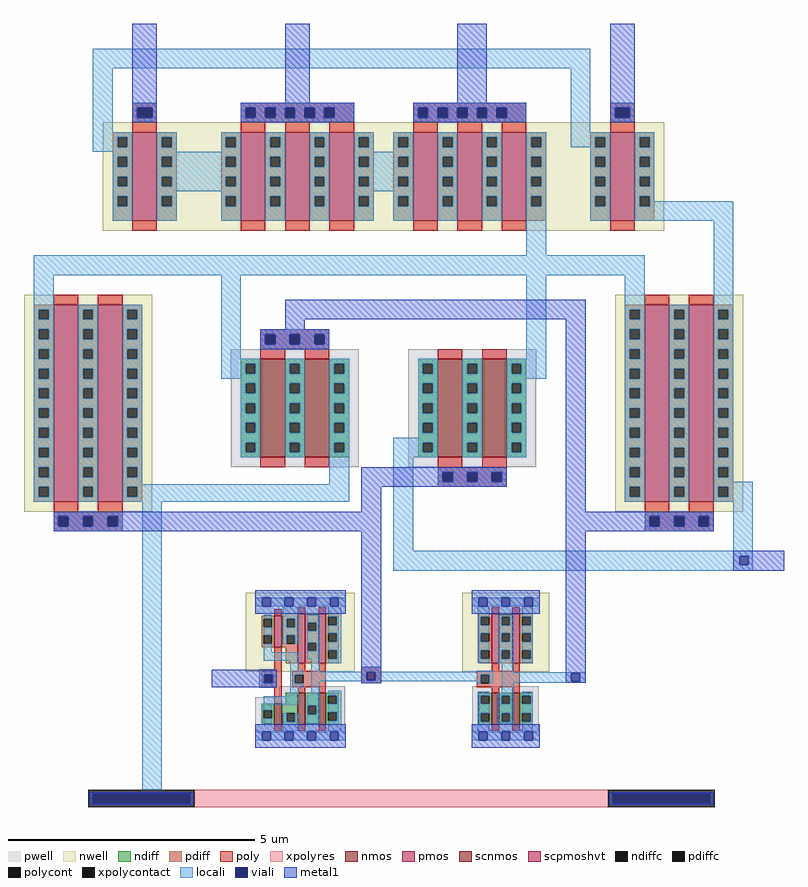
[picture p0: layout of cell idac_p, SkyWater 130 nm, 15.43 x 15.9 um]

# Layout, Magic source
magic
tech sky130A
magscale 1 2
<< nwell >>
rect -100 0 0 440
rect 1400 0 1500 440
<< poly >>
rect -320 500 -220 520
rect -320 460 -300 500
rect -240 460 -220 500
rect -320 440 -220 460
rect 120 500 580 520
rect 120 460 140 500
rect 180 460 220 500
rect 260 460 300 500
rect 340 460 380 500
rect 420 460 460 500
rect 500 460 580 500
rect 120 440 580 460
rect 820 500 1280 520
rect 820 460 840 500
rect 880 460 920 500
rect 960 460 1000 500
rect 1040 460 1080 500
rect 1120 460 1160 500
rect 1200 460 1280 500
rect 820 440 1280 460
rect 1620 500 1720 520
rect 1620 460 1640 500
rect 1700 460 1720 500
rect 1620 440 1720 460
rect 200 -420 480 -400
rect 200 -460 220 -420
rect 260 -460 320 -420
rect 360 -460 420 -420
rect 460 -460 480 -420
rect 200 -480 480 -460
rect 920 -980 1200 -960
rect 920 -1020 940 -980
rect 980 -1020 1040 -980
rect 1080 -1020 1140 -980
rect 1180 -1020 1200 -980
rect 920 -1040 1200 -1020
rect -640 -1160 -360 -1140
rect -640 -1200 -620 -1160
rect -580 -1200 -520 -1160
rect -480 -1200 -420 -1160
rect -380 -1200 -360 -1160
rect -640 -1220 -360 -1200
rect 1760 -1160 2040 -1140
rect 1760 -1200 1780 -1160
rect 1820 -1200 1880 -1160
rect 1920 -1200 1980 -1160
rect 2020 -1200 2040 -1160
rect 1760 -1220 2040 -1200
rect 610 -1838 690 -1770
<< polycont >>
rect -300 460 -240 500
rect 140 460 180 500
rect 220 460 260 500
rect 300 460 340 500
rect 380 460 420 500
rect 460 460 500 500
rect 840 460 880 500
rect 920 460 960 500
rect 1000 460 1040 500
rect 1080 460 1120 500
rect 1160 460 1200 500
rect 1640 460 1700 500
rect 220 -460 260 -420
rect 320 -460 360 -420
rect 420 -460 460 -420
rect 940 -1020 980 -980
rect 1040 -1020 1080 -980
rect 1140 -1020 1180 -980
rect -620 -1200 -580 -1160
rect -520 -1200 -480 -1160
rect -420 -1200 -380 -1160
rect 1780 -1200 1820 -1160
rect 1880 -1200 1920 -1160
rect 1980 -1200 2020 -1160
<< locali >>
rect -480 660 1540 740
rect -480 320 -400 660
rect -320 500 -220 520
rect -320 460 -300 500
rect -240 460 -220 500
rect -320 440 -220 460
rect 120 500 580 520
rect 120 460 140 500
rect 180 460 220 500
rect 260 460 300 500
rect 340 460 380 500
rect 420 460 460 500
rect 500 460 580 500
rect 120 440 580 460
rect 820 500 1280 520
rect 820 460 840 500
rect 880 460 920 500
rect 960 460 1000 500
rect 1040 460 1080 500
rect 1120 460 1160 500
rect 1200 460 1280 500
rect 820 440 1280 460
rect 1460 340 1540 660
rect 1620 500 1720 520
rect 1620 460 1640 500
rect 1700 460 1720 500
rect 1620 440 1720 460
rect -140 160 40 320
rect 660 160 740 320
rect 1800 40 2120 120
rect 1280 -100 1360 40
rect -720 -180 1760 -100
rect -720 -300 -640 -180
rect 40 -600 120 -180
rect 200 -420 480 -400
rect 200 -460 220 -420
rect 260 -460 320 -420
rect 360 -460 420 -420
rect 460 -460 480 -420
rect 200 -480 480 -460
rect 1280 -600 1360 -180
rect 1680 -300 1760 -180
rect 2040 -300 2120 40
rect 740 -920 840 -840
rect 480 -1030 560 -920
rect -280 -1100 560 -1030
rect -640 -1160 -360 -1140
rect -640 -1200 -620 -1160
rect -580 -1200 -520 -1160
rect -480 -1200 -420 -1160
rect -380 -1200 -360 -1160
rect -640 -1220 -360 -1200
rect -280 -2270 -200 -1100
rect 740 -1300 820 -920
rect 920 -980 1200 -960
rect 920 -1020 940 -980
rect 980 -1020 1040 -980
rect 1080 -1020 1140 -980
rect 1180 -1020 1200 -980
rect 920 -1040 1200 -1020
rect 1760 -1160 2040 -1140
rect 1760 -1200 1780 -1160
rect 1820 -1200 1880 -1160
rect 1920 -1200 1980 -1160
rect 2020 -1200 2040 -1160
rect 1760 -1220 2040 -1200
rect 2120 -1300 2200 -1020
rect 740 -1322 2200 -1300
rect 740 -1356 2146 -1322
rect 2180 -1356 2200 -1322
rect 740 -1380 2200 -1356
rect 610 -1790 690 -1770
rect 440 -1792 1080 -1790
rect 440 -1826 632 -1792
rect 666 -1826 1080 -1792
rect 440 -1830 1080 -1826
rect 1228 -1796 1520 -1792
rect 1228 -1830 1462 -1796
rect 1496 -1830 1520 -1796
rect 610 -1838 690 -1830
rect 1228 -1836 1520 -1830
<< viali >>
rect -300 460 -240 500
rect 140 460 180 500
rect 220 460 260 500
rect 300 460 340 500
rect 380 460 420 500
rect 460 460 500 500
rect 840 460 880 500
rect 920 460 960 500
rect 1000 460 1040 500
rect 1080 460 1120 500
rect 1160 460 1200 500
rect 1640 460 1700 500
rect 220 -460 260 -420
rect 320 -460 360 -420
rect 420 -460 460 -420
rect -620 -1200 -580 -1160
rect -520 -1200 -480 -1160
rect -420 -1200 -380 -1160
rect 940 -1020 980 -980
rect 1040 -1020 1080 -980
rect 1140 -1020 1180 -980
rect 1780 -1200 1820 -1160
rect 1880 -1200 1920 -1160
rect 1980 -1200 2020 -1160
rect 2146 -1356 2180 -1322
rect 216 -1836 250 -1802
rect 632 -1826 666 -1792
rect 1462 -1830 1496 -1796
<< metal1 >>
rect -320 500 -220 840
rect 300 520 400 840
rect 1000 520 1120 840
rect -320 460 -300 500
rect -240 460 -220 500
rect -320 440 -220 460
rect 120 500 580 520
rect 120 460 140 500
rect 180 460 220 500
rect 260 460 300 500
rect 340 460 380 500
rect 420 460 460 500
rect 500 460 580 500
rect 120 440 580 460
rect 820 500 1280 520
rect 820 460 840 500
rect 880 460 920 500
rect 960 460 1000 500
rect 1040 460 1080 500
rect 1120 460 1160 500
rect 1200 460 1280 500
rect 820 440 1280 460
rect 1620 500 1720 840
rect 1620 460 1640 500
rect 1700 460 1720 500
rect 1620 440 1720 460
rect 300 -360 1520 -280
rect 300 -400 380 -360
rect 200 -420 480 -400
rect 200 -460 220 -420
rect 260 -460 320 -420
rect 360 -460 420 -420
rect 460 -460 480 -420
rect 200 -480 480 -460
rect 610 -980 1200 -960
rect 610 -1020 940 -980
rect 980 -1020 1040 -980
rect 1080 -1020 1140 -980
rect 1180 -1020 1200 -980
rect 610 -1040 1200 -1020
rect 610 -1140 690 -1040
rect -640 -1160 690 -1140
rect -640 -1200 -620 -1160
rect -580 -1200 -520 -1160
rect -480 -1200 -420 -1160
rect -380 -1200 690 -1160
rect -640 -1220 690 -1200
rect 2 -1802 266 -1782
rect 2 -1836 216 -1802
rect 250 -1836 266 -1802
rect 2 -1854 266 -1836
rect 610 -1792 690 -1220
rect 610 -1826 632 -1792
rect 666 -1826 690 -1792
rect 610 -1838 690 -1826
rect 1440 -1140 1520 -360
rect 1440 -1160 2040 -1140
rect 1440 -1200 1780 -1160
rect 1820 -1200 1880 -1160
rect 1920 -1200 1980 -1160
rect 2020 -1200 2040 -1160
rect 1440 -1220 2040 -1200
rect 1440 -1796 1520 -1220
rect 2120 -1322 2326 -1300
rect 2120 -1356 2146 -1322
rect 2180 -1356 2326 -1322
rect 2120 -1380 2326 -1356
rect 1440 -1830 1462 -1796
rect 1496 -1830 1520 -1796
rect 1440 -1836 1520 -1830
use nmos_idac_lk  nmos_idac_lk_0
transform 1 0 200 0 1 -920
box -120 -40 400 440
use nmos_idac_lk  nmos_idac_lk_1
transform 1 0 920 0 1 -920
box -120 -40 400 440
use pmos_idac_br2  pmos_idac_br2_0
transform 1 0 120 0 1 40
box -120 -40 580 400
use pmos_idac_br2  pmos_idac_br2_1
transform 1 0 820 0 1 40
box -120 -40 580 400
use pmos_idac_br  pmos_idac_br_0
transform 1 0 -320 0 1 40
box -120 -40 220 400
use pmos_idac_br  pmos_idac_br_1
transform 1 0 1620 0 1 40
box -120 -40 220 400
use pmos_idac_lk  pmos_idac_lk_0
transform 1 0 -640 0 1 -1100
box -120 -40 400 840
use pmos_idac_lk  pmos_idac_lk_1
transform 1 0 1760 0 1 -1100
box -120 -40 400 840
use sky130_fd_pr__res_xhigh_po_0p35_JPCEFB  sky130_fd_pr__res_xhigh_po_0p35_JPCEFB_0
transform 0 1 772 -1 0 -2305
box -35 -1272 35 1272
use sky130_fd_sc_hd__buf_2  sky130_fd_sc_hd__buf_2_0 $PDKPATH/libs.ref/sky130_fd_sc_hd/mag
transform 1 0 178 0 1 -2052
box -38 -48 406 592
use sky130_fd_sc_hd__inv_2  sky130_fd_sc_hd__inv_2_0 $PDKPATH/libs.ref/sky130_fd_sc_hd/mag
transform 1 0 1058 0 1 -2052
box -38 -48 314 592
<< end >>

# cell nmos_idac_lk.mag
magic
tech sky130A
<< pwell >>
rect -60 -20 200 220
<< nmos >>
rect 0 0 50 200
rect 90 0 140 200
<< ndiff >>
rect -40 190 0 200
rect -40 170 -30 190
rect -10 170 0 190
rect -40 150 0 170
rect -40 130 -30 150
rect -10 130 0 150
rect -40 110 0 130
rect -40 90 -30 110
rect -10 90 0 110
rect -40 70 0 90
rect -40 50 -30 70
rect -10 50 0 70
rect -40 30 0 50
rect -40 10 -30 30
rect -10 10 0 30
rect -40 0 0 10
rect 50 190 90 200
rect 50 170 60 190
rect 80 170 90 190
rect 50 150 90 170
rect 50 130 60 150
rect 80 130 90 150
rect 50 110 90 130
rect 50 90 60 110
rect 80 90 90 110
rect 50 70 90 90
rect 50 50 60 70
rect 80 50 90 70
rect 50 30 90 50
rect 50 10 60 30
rect 80 10 90 30
rect 50 0 90 10
rect 140 190 180 200
rect 140 170 150 190
rect 170 170 180 190
rect 140 150 180 170
rect 140 130 150 150
rect 170 130 180 150
rect 140 110 180 130
rect 140 90 150 110
rect 170 90 180 110
rect 140 70 180 90
rect 140 50 150 70
rect 170 50 180 70
rect 140 30 180 50
rect 140 10 150 30
rect 170 10 180 30
rect 140 0 180 10
<< ndiffc >>
rect -30 170 -10 190
rect -30 130 -10 150
rect -30 90 -10 110
rect -30 50 -10 70
rect -30 10 -10 30
rect 60 170 80 190
rect 60 130 80 150
rect 60 90 80 110
rect 60 50 80 70
rect 60 10 80 30
rect 150 170 170 190
rect 150 130 170 150
rect 150 90 170 110
rect 150 50 170 70
rect 150 10 170 30
<< poly >>
rect 0 200 50 220
rect 90 200 140 220
rect 0 -20 50 0
rect 90 -20 140 0
<< locali >>
rect -40 190 0 200
rect -40 170 -30 190
rect -10 170 0 190
rect -40 150 0 170
rect -40 130 -30 150
rect -10 130 0 150
rect -40 110 0 130
rect -40 90 -30 110
rect -10 90 0 110
rect -40 70 0 90
rect -40 50 -30 70
rect -10 50 0 70
rect -40 30 0 50
rect -40 10 -30 30
rect -10 10 0 30
rect -40 0 0 10
rect 50 190 90 200
rect 50 170 60 190
rect 80 170 90 190
rect 50 150 90 170
rect 50 130 60 150
rect 80 130 90 150
rect 50 110 90 130
rect 50 90 60 110
rect 80 90 90 110
rect 50 70 90 90
rect 50 50 60 70
rect 80 50 90 70
rect 50 30 90 50
rect 50 10 60 30
rect 80 10 90 30
rect 50 0 90 10
rect 140 190 180 200
rect 140 170 150 190
rect 170 170 180 190
rect 140 150 180 170
rect 140 130 150 150
rect 170 130 180 150
rect 140 110 180 130
rect 140 90 150 110
rect 170 90 180 110
rect 140 70 180 90
rect 140 50 150 70
rect 170 50 180 70
rect 140 30 180 50
rect 140 10 150 30
rect 170 10 180 30
rect 140 0 180 10
<< end >>

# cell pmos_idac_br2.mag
magic
tech sky130A
<< nwell >>
rect -60 -20 290 200
<< pmos >>
rect 0 0 50 180
rect 90 0 140 180
rect 180 0 230 180
<< pdiff >>
rect -40 170 0 180
rect -40 150 -30 170
rect -10 150 0 170
rect -40 130 0 150
rect -40 110 -30 130
rect -10 110 0 130
rect -40 90 0 110
rect -40 70 -30 90
rect -10 70 0 90
rect -40 50 0 70
rect -40 30 -30 50
rect -10 30 0 50
rect -40 0 0 30
rect 50 170 90 180
rect 50 150 60 170
rect 80 150 90 170
rect 50 130 90 150
rect 50 110 60 130
rect 80 110 90 130
rect 50 90 90 110
rect 50 70 60 90
rect 80 70 90 90
rect 50 50 90 70
rect 50 30 60 50
rect 80 30 90 50
rect 50 0 90 30
rect 140 170 180 180
rect 140 150 150 170
rect 170 150 180 170
rect 140 130 180 150
rect 140 110 150 130
rect 170 110 180 130
rect 140 90 180 110
rect 140 70 150 90
rect 170 70 180 90
rect 140 50 180 70
rect 140 30 150 50
rect 170 30 180 50
rect 140 0 180 30
rect 230 170 270 180
rect 230 150 240 170
rect 260 150 270 170
rect 230 130 270 150
rect 230 110 240 130
rect 260 110 270 130
rect 230 90 270 110
rect 230 70 240 90
rect 260 70 270 90
rect 230 50 270 70
rect 230 30 240 50
rect 260 30 270 50
rect 230 0 270 30
<< pdiffc >>
rect -30 150 -10 170
rect -30 110 -10 130
rect -30 70 -10 90
rect -30 30 -10 50
rect 60 150 80 170
rect 60 110 80 130
rect 60 70 80 90
rect 60 30 80 50
rect 150 150 170 170
rect 150 110 170 130
rect 150 70 170 90
rect 150 30 170 50
rect 240 150 260 170
rect 240 110 260 130
rect 240 70 260 90
rect 240 30 260 50
<< poly >>
rect 0 180 50 200
rect 90 180 140 200
rect 180 180 230 200
rect 0 -20 50 0
rect 90 -20 140 0
rect 180 -20 230 0
<< locali >>
rect -40 170 0 180
rect -40 150 -30 170
rect -10 150 0 170
rect -40 130 0 150
rect -40 110 -30 130
rect -10 110 0 130
rect -40 90 0 110
rect -40 70 -30 90
rect -10 70 0 90
rect -40 50 0 70
rect -40 30 -30 50
rect -10 30 0 50
rect -40 0 0 30
rect 50 170 90 180
rect 50 150 60 170
rect 80 150 90 170
rect 50 130 90 150
rect 50 110 60 130
rect 80 110 90 130
rect 50 90 90 110
rect 50 70 60 90
rect 80 70 90 90
rect 50 50 90 70
rect 50 30 60 50
rect 80 30 90 50
rect 50 0 90 30
rect 140 170 180 180
rect 140 150 150 170
rect 170 150 180 170
rect 140 130 180 150
rect 140 110 150 130
rect 170 110 180 130
rect 140 90 180 110
rect 140 70 150 90
rect 170 70 180 90
rect 140 50 180 70
rect 140 30 150 50
rect 170 30 180 50
rect 140 0 180 30
rect 230 170 270 180
rect 230 150 240 170
rect 260 150 270 170
rect 230 130 270 150
rect 230 110 240 130
rect 260 110 270 130
rect 230 90 270 110
rect 230 70 240 90
rect 260 70 270 90
rect 230 50 270 70
rect 230 30 240 50
rect 260 30 270 50
rect 230 0 270 30
<< end >>

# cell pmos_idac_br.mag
magic
tech sky130A
<< nwell >>
rect -60 -20 110 200
<< pmos >>
rect 0 0 50 180
<< pdiff >>
rect -40 170 0 180
rect -40 150 -30 170
rect -10 150 0 170
rect -40 130 0 150
rect -40 110 -30 130
rect -10 110 0 130
rect -40 90 0 110
rect -40 70 -30 90
rect -10 70 0 90
rect -40 50 0 70
rect -40 30 -30 50
rect -10 30 0 50
rect -40 0 0 30
rect 50 170 90 180
rect 50 150 60 170
rect 80 150 90 170
rect 50 130 90 150
rect 50 110 60 130
rect 80 110 90 130
rect 50 90 90 110
rect 50 70 60 90
rect 80 70 90 90
rect 50 50 90 70
rect 50 30 60 50
rect 80 30 90 50
rect 50 0 90 30
<< pdiffc >>
rect -30 150 -10 170
rect -30 110 -10 130
rect -30 70 -10 90
rect -30 30 -10 50
rect 60 150 80 170
rect 60 110 80 130
rect 60 70 80 90
rect 60 30 80 50
<< poly >>
rect 0 180 50 200
rect 0 -20 50 0
<< locali >>
rect -40 170 0 180
rect -40 150 -30 170
rect -10 150 0 170
rect -40 130 0 150
rect -40 110 -30 130
rect -10 110 0 130
rect -40 90 0 110
rect -40 70 -30 90
rect -10 70 0 90
rect -40 50 0 70
rect -40 30 -30 50
rect -10 30 0 50
rect -40 0 0 30
rect 50 170 90 180
rect 50 150 60 170
rect 80 150 90 170
rect 50 130 90 150
rect 50 110 60 130
rect 80 110 90 130
rect 50 90 90 110
rect 50 70 60 90
rect 80 70 90 90
rect 50 50 90 70
rect 50 30 60 50
rect 80 30 90 50
rect 50 0 90 30
<< end >>

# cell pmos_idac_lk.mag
magic
tech sky130A
<< nwell >>
rect -60 -20 200 420
<< pmos >>
rect 0 0 50 400
rect 90 0 140 400
<< pdiff >>
rect -40 390 0 400
rect -40 370 -30 390
rect -10 370 0 390
rect -40 350 0 370
rect -40 330 -30 350
rect -10 330 0 350
rect -40 310 0 330
rect -40 290 -30 310
rect -10 290 0 310
rect -40 270 0 290
rect -40 250 -30 270
rect -10 250 0 270
rect -40 230 0 250
rect -40 210 -30 230
rect -10 210 0 230
rect -40 190 0 210
rect -40 170 -30 190
rect -10 170 0 190
rect -40 150 0 170
rect -40 130 -30 150
rect -10 130 0 150
rect -40 110 0 130
rect -40 90 -30 110
rect -10 90 0 110
rect -40 70 0 90
rect -40 50 -30 70
rect -10 50 0 70
rect -40 30 0 50
rect -40 10 -30 30
rect -10 10 0 30
rect -40 0 0 10
rect 50 390 90 400
rect 50 370 60 390
rect 80 370 90 390
rect 50 350 90 370
rect 50 330 60 350
rect 80 330 90 350
rect 50 310 90 330
rect 50 290 60 310
rect 80 290 90 310
rect 50 270 90 290
rect 50 250 60 270
rect 80 250 90 270
rect 50 230 90 250
rect 50 210 60 230
rect 80 210 90 230
rect 50 190 90 210
rect 50 170 60 190
rect 80 170 90 190
rect 50 150 90 170
rect 50 130 60 150
rect 80 130 90 150
rect 50 110 90 130
rect 50 90 60 110
rect 80 90 90 110
rect 50 70 90 90
rect 50 50 60 70
rect 80 50 90 70
rect 50 30 90 50
rect 50 10 60 30
rect 80 10 90 30
rect 50 0 90 10
rect 140 390 180 400
rect 140 370 150 390
rect 170 370 180 390
rect 140 350 180 370
rect 140 330 150 350
rect 170 330 180 350
rect 140 310 180 330
rect 140 290 150 310
rect 170 290 180 310
rect 140 270 180 290
rect 140 250 150 270
rect 170 250 180 270
rect 140 230 180 250
rect 140 210 150 230
rect 170 210 180 230
rect 140 190 180 210
rect 140 170 150 190
rect 170 170 180 190
rect 140 150 180 170
rect 140 130 150 150
rect 170 130 180 150
rect 140 110 180 130
rect 140 90 150 110
rect 170 90 180 110
rect 140 70 180 90
rect 140 50 150 70
rect 170 50 180 70
rect 140 30 180 50
rect 140 10 150 30
rect 170 10 180 30
rect 140 0 180 10
<< pdiffc >>
rect -30 370 -10 390
rect -30 330 -10 350
rect -30 290 -10 310
rect -30 250 -10 270
rect -30 210 -10 230
rect -30 170 -10 190
rect -30 130 -10 150
rect -30 90 -10 110
rect -30 50 -10 70
rect -30 10 -10 30
rect 60 370 80 390
rect 60 330 80 350
rect 60 290 80 310
rect 60 250 80 270
rect 60 210 80 230
rect 60 170 80 190
rect 60 130 80 150
rect 60 90 80 110
rect 60 50 80 70
rect 60 10 80 30
rect 150 370 170 390
rect 150 330 170 350
rect 150 290 170 310
rect 150 250 170 270
rect 150 210 170 230
rect 150 170 170 190
rect 150 130 170 150
rect 150 90 170 110
rect 150 50 170 70
rect 150 10 170 30
<< poly >>
rect 0 400 50 420
rect 90 400 140 420
rect 0 -20 50 0
rect 90 -20 140 0
<< locali >>
rect -40 390 0 400
rect -40 370 -30 390
rect -10 370 0 390
rect -40 350 0 370
rect -40 330 -30 350
rect -10 330 0 350
rect -40 310 0 330
rect -40 290 -30 310
rect -10 290 0 310
rect -40 270 0 290
rect -40 250 -30 270
rect -10 250 0 270
rect -40 230 0 250
rect -40 210 -30 230
rect -10 210 0 230
rect -40 190 0 210
rect -40 170 -30 190
rect -10 170 0 190
rect -40 150 0 170
rect -40 130 -30 150
rect -10 130 0 150
rect -40 110 0 130
rect -40 90 -30 110
rect -10 90 0 110
rect -40 70 0 90
rect -40 50 -30 70
rect -10 50 0 70
rect -40 30 0 50
rect -40 10 -30 30
rect -10 10 0 30
rect -40 0 0 10
rect 50 390 90 400
rect 50 370 60 390
rect 80 370 90 390
rect 50 350 90 370
rect 50 330 60 350
rect 80 330 90 350
rect 50 310 90 330
rect 50 290 60 310
rect 80 290 90 310
rect 50 270 90 290
rect 50 250 60 270
rect 80 250 90 270
rect 50 230 90 250
rect 50 210 60 230
rect 80 210 90 230
rect 50 190 90 210
rect 50 170 60 190
rect 80 170 90 190
rect 50 150 90 170
rect 50 130 60 150
rect 80 130 90 150
rect 50 110 90 130
rect 50 90 60 110
rect 80 90 90 110
rect 50 70 90 90
rect 50 50 60 70
rect 80 50 90 70
rect 50 30 90 50
rect 50 10 60 30
rect 80 10 90 30
rect 50 0 90 10
rect 140 390 180 400
rect 140 370 150 390
rect 170 370 180 390
rect 140 350 180 370
rect 140 330 150 350
rect 170 330 180 350
rect 140 310 180 330
rect 140 290 150 310
rect 170 290 180 310
rect 140 270 180 290
rect 140 250 150 270
rect 170 250 180 270
rect 140 230 180 250
rect 140 210 150 230
rect 170 210 180 230
rect 140 190 180 210
rect 140 170 150 190
rect 170 170 180 190
rect 140 150 180 170
rect 140 130 150 150
rect 170 130 180 150
rect 140 110 180 130
rect 140 90 150 110
rect 170 90 180 110
rect 140 70 180 90
rect 140 50 150 70
rect 170 50 180 70
rect 140 30 180 50
rect 140 10 150 30
rect 170 10 180 30
rect 140 0 180 10
<< end >>

# cell sky130_fd_pr__res_xhigh_po_0p35_JPCEFB: kit device sky130_fd_pr__res_xhigh_po_0p35, w 0.350 l 8.562 m 1 nx 1 wmin 0.350 lmin 0.50 rho 2000 val 50.001k dummy 0 dw 0.0 term 188.2 sterm 0.0 caplen 0 wmax 0.350 guard 0 glc 0 grc 0 gtc 0 gbc 0 compatible {sky130_fd_pr__res_xhigh_po_0p35 sky130_fd_pr__res_xhigh_po_0p69 sky130_fd_pr__res_xhigh_po_1p41 sky130_fd_pr__res_xhigh_po_2p85 sky130_fd_pr__res_xhigh_po_5p73} snake 0 full_metal 0 n_guard 0 hv_guard 0 vias 1 viagb 0 viagt 0 viagl 0 viagr 0

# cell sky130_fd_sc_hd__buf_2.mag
magic
tech sky130A
magscale 1 2
<< nwell >>
rect -38 261 406 582
<< pwell >>
rect 98 157 367 203
rect 1 21 367 157
rect 29 -17 63 21
<< scnmos >>
rect 79 47 109 131
rect 174 47 204 177
rect 258 47 288 177
<< scpmoshvt >>
rect 79 361 109 489
rect 174 297 204 497
rect 258 297 288 497
<< ndiff >>
rect 124 131 174 177
rect 27 106 79 131
rect 27 72 35 106
rect 69 72 79 106
rect 27 47 79 72
rect 109 93 174 131
rect 109 59 128 93
rect 162 59 174 93
rect 109 47 174 59
rect 204 123 258 177
rect 204 89 214 123
rect 248 89 258 123
rect 204 47 258 89
rect 288 165 341 177
rect 288 131 298 165
rect 332 131 341 165
rect 288 97 341 131
rect 288 63 298 97
rect 332 63 341 97
rect 288 47 341 63
<< pdiff >>
rect 124 489 174 497
rect 27 477 79 489
rect 27 443 35 477
rect 69 443 79 477
rect 27 409 79 443
rect 27 375 35 409
rect 69 375 79 409
rect 27 361 79 375
rect 109 477 174 489
rect 109 443 128 477
rect 162 443 174 477
rect 109 409 174 443
rect 109 375 128 409
rect 162 375 174 409
rect 109 361 174 375
rect 124 297 174 361
rect 204 461 258 497
rect 204 427 214 461
rect 248 427 258 461
rect 204 380 258 427
rect 204 346 214 380
rect 248 346 258 380
rect 204 297 258 346
rect 288 485 341 497
rect 288 451 298 485
rect 332 451 341 485
rect 288 417 341 451
rect 288 383 298 417
rect 332 383 341 417
rect 288 349 341 383
rect 288 315 298 349
rect 332 315 341 349
rect 288 297 341 315
<< ndiffc >>
rect 35 72 69 106
rect 128 59 162 93
rect 214 89 248 123
rect 298 131 332 165
rect 298 63 332 97
<< pdiffc >>
rect 35 443 69 477
rect 35 375 69 409
rect 128 443 162 477
rect 128 375 162 409
rect 214 427 248 461
rect 214 346 248 380
rect 298 451 332 485
rect 298 383 332 417
rect 298 315 332 349
<< poly >>
rect 79 489 109 515
rect 174 497 204 523
rect 258 497 288 523
rect 79 265 109 361
rect 174 265 204 297
rect 258 265 288 297
rect 27 249 109 265
rect 27 215 37 249
rect 71 215 109 249
rect 27 199 109 215
rect 151 249 288 265
rect 151 215 161 249
rect 195 215 288 249
rect 151 199 288 215
rect 79 131 109 199
rect 174 177 204 199
rect 258 177 288 199
rect 79 21 109 47
rect 174 21 204 47
rect 258 21 288 47
<< polycont >>
rect 37 215 71 249
rect 161 215 195 249
<< locali >>
rect 0 527 29 561
rect 63 527 121 561
rect 155 527 213 561
rect 247 527 305 561
rect 339 527 368 561
rect 35 477 69 493
rect 35 409 69 443
rect 112 477 178 527
rect 112 443 128 477
rect 162 443 178 477
rect 112 409 178 443
rect 112 375 128 409
rect 162 375 178 409
rect 212 461 263 493
rect 212 427 214 461
rect 248 427 263 461
rect 212 380 263 427
rect 35 341 69 375
rect 212 346 214 380
rect 248 346 263 380
rect 35 307 178 341
rect 212 312 263 346
rect 17 249 88 271
rect 17 215 37 249
rect 71 215 88 249
rect 17 197 88 215
rect 144 265 178 307
rect 144 249 195 265
rect 144 215 161 249
rect 144 199 195 215
rect 144 161 178 199
rect 229 166 263 312
rect 298 485 350 527
rect 332 451 350 485
rect 298 417 350 451
rect 332 383 350 417
rect 298 349 350 383
rect 332 315 350 349
rect 298 297 350 315
rect 35 127 178 161
rect 35 106 69 127
rect 212 123 263 166
rect 35 51 69 72
rect 112 59 128 93
rect 162 59 178 93
rect 112 17 178 59
rect 212 89 214 123
rect 248 89 263 123
rect 212 51 263 89
rect 298 165 350 185
rect 332 131 350 165
rect 298 97 350 131
rect 332 63 350 97
rect 298 17 350 63
rect 0 -17 29 17
rect 63 -17 121 17
rect 155 -17 213 17
rect 247 -17 305 17
rect 339 -17 368 17
<< viali >>
rect 29 527 63 561
rect 121 527 155 561
rect 213 527 247 561
rect 305 527 339 561
rect 29 -17 63 17
rect 121 -17 155 17
rect 213 -17 247 17
rect 305 -17 339 17
<< metal1 >>
rect 0 561 368 592
rect 0 527 29 561
rect 63 527 121 561
rect 155 527 213 561
rect 247 527 305 561
rect 339 527 368 561
rect 0 496 368 527
rect 0 17 368 48
rect 0 -17 29 17
rect 63 -17 121 17
rect 155 -17 213 17
rect 247 -17 305 17
rect 339 -17 368 17
rect 0 -48 368 -17
<< labels >>
flabel metal1 s 29 527 63 561 0 FreeSans 200 0 0 0 VPWR
port 2 nsew
flabel metal1 s 29 -17 63 17 0 FreeSans 200 0 0 0 VGND
port 3 nsew
flabel locali s 29 527 63 561 0 FreeSans 200 0 0 0 VPWR
port 2 nsew
flabel locali s 29 -17 63 17 0 FreeSans 200 0 0 0 VGND
port 3 nsew
flabel locali s 212 85 246 119 0 FreeSans 200 0 0 0 X
port 4 nsew
flabel locali s 212 357 246 391 0 FreeSans 200 0 0 0 X
port 4 nsew
flabel locali s 212 425 246 459 0 FreeSans 200 0 0 0 X
port 4 nsew
flabel locali s 29 221 63 255 0 FreeSans 200 0 0 0 A
port 5 nsew
flabel nwell s 29 527 63 561 0 FreeSans 200 0 0 0 VPB
port 6 nsew
flabel pwell s 29 -17 63 17 0 FreeSans 200 0 0 0 VNB
port 7 nsew
rlabel comment s 0 0 0 0 4 buf_2
<< properties >>
string FIXED_BBOX 0 0 368 544
string path 0.000 2.720 1.840 2.720 
<< end >>

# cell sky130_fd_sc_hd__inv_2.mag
magic
tech sky130A
magscale 1 2
<< nwell >>
rect -38 261 314 582
<< pwell >>
rect 3 21 273 203
rect 29 -17 63 21
<< scnmos >>
rect 81 47 111 177
rect 165 47 195 177
<< scpmoshvt >>
rect 81 297 111 497
rect 165 297 195 497
<< ndiff >>
rect 29 165 81 177
rect 29 131 37 165
rect 71 131 81 165
rect 29 93 81 131
rect 29 59 37 93
rect 71 59 81 93
rect 29 47 81 59
rect 111 165 165 177
rect 111 131 121 165
rect 155 131 165 165
rect 111 93 165 131
rect 111 59 121 93
rect 155 59 165 93
rect 111 47 165 59
rect 195 165 247 177
rect 195 131 205 165
rect 239 131 247 165
rect 195 93 247 131
rect 195 59 205 93
rect 239 59 247 93
rect 195 47 247 59
<< pdiff >>
rect 29 485 81 497
rect 29 451 37 485
rect 71 451 81 485
rect 29 417 81 451
rect 29 383 37 417
rect 71 383 81 417
rect 29 349 81 383
rect 29 315 37 349
rect 71 315 81 349
rect 29 297 81 315
rect 111 485 165 497
rect 111 451 121 485
rect 155 451 165 485
rect 111 417 165 451
rect 111 383 121 417
rect 155 383 165 417
rect 111 349 165 383
rect 111 315 121 349
rect 155 315 165 349
rect 111 297 165 315
rect 195 485 247 497
rect 195 451 205 485
rect 239 451 247 485
rect 195 417 247 451
rect 195 383 205 417
rect 239 383 247 417
rect 195 349 247 383
rect 195 315 205 349
rect 239 315 247 349
rect 195 297 247 315
<< ndiffc >>
rect 37 131 71 165
rect 37 59 71 93
rect 121 131 155 165
rect 121 59 155 93
rect 205 131 239 165
rect 205 59 239 93
<< pdiffc >>
rect 37 451 71 485
rect 37 383 71 417
rect 37 315 71 349
rect 121 451 155 485
rect 121 383 155 417
rect 121 315 155 349
rect 205 451 239 485
rect 205 383 239 417
rect 205 315 239 349
<< poly >>
rect 81 497 111 523
rect 165 497 195 523
rect 81 265 111 297
rect 165 265 195 297
rect 21 249 195 265
rect 21 215 37 249
rect 71 215 195 249
rect 21 199 195 215
rect 81 177 111 199
rect 165 177 195 199
rect 81 21 111 47
rect 165 21 195 47
<< polycont >>
rect 37 215 71 249
<< locali >>
rect 0 527 29 561
rect 63 527 121 561
rect 155 527 213 561
rect 247 527 276 561
rect 25 485 71 527
rect 25 451 37 485
rect 25 417 71 451
rect 25 383 37 417
rect 25 349 71 383
rect 25 315 37 349
rect 25 299 71 315
rect 105 485 171 493
rect 105 451 121 485
rect 155 451 171 485
rect 105 417 171 451
rect 105 383 121 417
rect 155 383 171 417
rect 105 349 171 383
rect 105 315 121 349
rect 155 315 171 349
rect 105 297 171 315
rect 205 485 247 527
rect 239 451 247 485
rect 205 417 247 451
rect 239 383 247 417
rect 205 349 247 383
rect 239 315 247 349
rect 205 299 247 315
rect 21 249 87 265
rect 21 215 37 249
rect 71 215 87 249
rect 25 165 71 181
rect 121 177 171 297
rect 25 131 37 165
rect 25 93 71 131
rect 25 59 37 93
rect 25 17 71 59
rect 105 165 171 177
rect 105 131 121 165
rect 155 131 171 165
rect 105 93 171 131
rect 105 59 121 93
rect 155 59 171 93
rect 105 51 171 59
rect 205 165 247 181
rect 239 131 247 165
rect 205 93 247 131
rect 239 59 247 93
rect 205 17 247 59
rect 0 -17 29 17
rect 63 -17 121 17
rect 155 -17 213 17
rect 247 -17 276 17
<< viali >>
rect 29 527 63 561
rect 121 527 155 561
rect 213 527 247 561
rect 29 -17 63 17
rect 121 -17 155 17
rect 213 -17 247 17
<< metal1 >>
rect 0 561 276 592
rect 0 527 29 561
rect 63 527 121 561
rect 155 527 213 561
rect 247 527 276 561
rect 0 496 276 527
rect 0 17 276 48
rect 0 -17 29 17
rect 63 -17 121 17
rect 155 -17 213 17
rect 247 -17 276 17
rect 0 -48 276 -17
<< labels >>
flabel locali s 29 221 63 255 0 FreeSans 340 0 0 0 A
port 7 nsew
flabel locali s 121 153 155 187 0 FreeSans 340 0 0 0 Y
port 6 nsew
flabel locali s 121 289 155 323 0 FreeSans 340 0 0 0 Y
port 6 nsew
flabel locali s 121 221 155 255 0 FreeSans 340 0 0 0 Y
port 6 nsew
flabel nwell s 29 527 63 561 0 FreeSans 200 0 0 0 VPB
port 2 nsew
flabel pwell s 29 -17 63 17 0 FreeSans 200 0 0 0 VNB
port 3 nsew
flabel metal1 s 29 527 63 561 0 FreeSans 200 0 0 0 VPWR
port 4 nsew
flabel metal1 s 29 -17 63 17 0 FreeSans 200 0 0 0 VGND
port 5 nsew
rlabel comment s 0 0 0 0 4 inv_2
<< properties >>
string FIXED_BBOX 0 0 276 544
string path 0.000 0.000 1.380 0.000 
<< end >>
